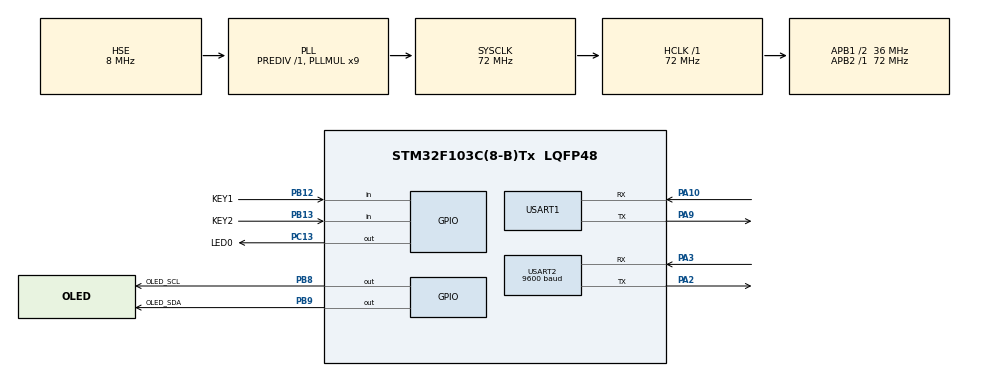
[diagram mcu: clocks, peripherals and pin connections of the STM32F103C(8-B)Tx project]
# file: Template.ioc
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Dma.Request0=USART1_RX
Dma.Request1=USART1_TX
Dma.Request2=USART2_RX
Dma.Request3=USART2_TX
Dma.USART1_RX.0.Direction=DMA_PERIPH_TO_MEMORY
Dma.USART1_RX.0.Instance=DMA1_Channel5
Dma.USART1_RX.0.MemDataAlignment=DMA_MDATAALIGN_BYTE
Dma.USART1_RX.0.MemInc=DMA_MINC_ENABLE
Dma.USART1_RX.0.Mode=DMA_NORMAL
Dma.USART1_RX.0.PeriphDataAlignment=DMA_PDATAALIGN_BYTE
Dma.USART1_RX.0.PeriphInc=DMA_PINC_DISABLE
Dma.USART1_RX.0.Priority=DMA_PRIORITY_LOW
Dma.USART1_TX.1.Direction=DMA_MEMORY_TO_PERIPH
Dma.USART1_TX.1.Instance=DMA1_Channel4
Dma.USART1_TX.1.MemDataAlignment=DMA_MDATAALIGN_BYTE
Dma.USART1_TX.1.MemInc=DMA_MINC_ENABLE
Dma.USART1_TX.1.Mode=DMA_NORMAL
Dma.USART1_TX.1.PeriphDataAlignment=DMA_PDATAALIGN_BYTE
Dma.USART1_TX.1.PeriphInc=DMA_PINC_DISABLE
Dma.USART1_TX.1.Priority=DMA_PRIORITY_LOW
Dma.USART2_RX.2.Direction=DMA_PERIPH_TO_MEMORY
Dma.USART2_RX.2.Instance=DMA1_Channel6
Dma.USART2_RX.2.MemDataAlignment=DMA_MDATAALIGN_BYTE
Dma.USART2_RX.2.MemInc=DMA_MINC_ENABLE
Dma.USART2_RX.2.Mode=DMA_NORMAL
Dma.USART2_RX.2.PeriphDataAlignment=DMA_PDATAALIGN_BYTE
Dma.USART2_RX.2.PeriphInc=DMA_PINC_DISABLE
Dma.USART2_RX.2.Priority=DMA_PRIORITY_LOW
Dma.USART2_TX.3.Direction=DMA_MEMORY_TO_PERIPH
Dma.USART2_TX.3.Instance=DMA1_Channel7
Dma.USART2_TX.3.MemDataAlignment=DMA_MDATAALIGN_BYTE
Dma.USART2_TX.3.MemInc=DMA_MINC_ENABLE
Dma.USART2_TX.3.Mode=DMA_NORMAL
Dma.USART2_TX.3.PeriphDataAlignment=DMA_PDATAALIGN_BYTE
Dma.USART2_TX.3.PeriphInc=DMA_PINC_DISABLE
Dma.USART2_TX.3.Priority=DMA_PRIORITY_LOW
Mcu.Family=STM32F1
Mcu.Name=STM32F103C(8-B)Tx
Mcu.Package=LQFP48
NVIC.DMA1_Channel4_IRQn=true\:0\:0\:false\:false\:true\:false\:true\:true
NVIC.DMA1_Channel5_IRQn=true\:0\:0\:false\:false\:true\:false\:true\:true
NVIC.DMA1_Channel6_IRQn=true\:0\:0\:false\:false\:true\:false\:true\:true
NVIC.DMA1_Channel7_IRQn=true\:0\:0\:false\:false\:true\:false\:true\:true
NVIC.PriorityGroup=NVIC_PRIORITYGROUP_2
NVIC.USART1_IRQn=true\:0\:0\:false\:false\:true\:true\:true\:true
NVIC.USART2_IRQn=true\:0\:0\:false\:false\:true\:true\:true\:true
PA10.Mode=Asynchronous
PA10.Signal=USART1_RX
PA13.Mode=Serial_Wire
PA13.Signal=SYS_JTMS-SWDIO
PA14.Mode=Serial_Wire
PA14.Signal=SYS_JTCK-SWCLK
PA2.Mode=Asynchronous
PA2.Signal=USART2_TX
PA3.Mode=Asynchronous
PA3.Signal=USART2_RX
PA9.Mode=Asynchronous
PA9.Signal=USART1_TX
PB12.GPIO_Label=KEY1
PB12.GPIO_PuPd=GPIO_PULLUP
PB12.Signal=GPIO_Input
PB13.GPIO_Label=KEY2
PB13.GPIO_PuPd=GPIO_PULLUP
PB13.Signal=GPIO_Input
PB8.GPIO_Label=OLED_SCL
PB8.GPIO_Speed=GPIO_SPEED_FREQ_HIGH
PB8.Signal=GPIO_Output
PB9.GPIO_Label=OLED_SDA
PB9.GPIO_Speed=GPIO_SPEED_FREQ_HIGH
PB9.PinState=GPIO_PIN_RESET
PB9.Signal=GPIO_Output
PC13-TAMPER-RTC.GPIO_Label=LED0
PC13-TAMPER-RTC.Signal=GPIO_Output
PC14-OSC32_IN.Mode=LSE-External-Oscillator
PC14-OSC32_IN.Signal=RCC_OSC32_IN
PC15-OSC32_OUT.Mode=LSE-External-Oscillator
PC15-OSC32_OUT.Signal=RCC_OSC32_OUT
PD0-OSC_IN.Mode=HSE-External-Oscillator
PD0-OSC_IN.Signal=RCC_OSC_IN
PD1-OSC_OUT.Mode=HSE-External-Oscillator
PD1-OSC_OUT.Signal=RCC_OSC_OUT
ProjectManager.HeapSize=0x200
ProjectManager.StackSize=0x400
ProjectManager.TargetToolchain=MDK-ARM V5.32
RCC.AHBFreq_Value=72000000
RCC.APB1CLKDivider=RCC_HCLK_DIV2
RCC.APB1Freq_Value=36000000
RCC.APB1TimFreq_Value=72000000
RCC.APB2Freq_Value=72000000
RCC.APB2TimFreq_Value=72000000
RCC.HCLKFreq_Value=72000000
RCC.PLLMUL=RCC_PLL_MUL9
RCC.PLLSourceVirtual=RCC_PLLSOURCE_HSE
RCC.SYSCLKFreq_VALUE=72000000
RCC.SYSCLKSource=RCC_SYSCLKSOURCE_PLLCLK
RCC.USBFreq_Value=72000000
USART1.VirtualMode=VM_ASYNC
USART2.BaudRate=9600
USART2.VirtualMode=VM_ASYNC
board=custom

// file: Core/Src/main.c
/* USER CODE BEGIN Header */
/**
  ******************************************************************************
  * @file           : main.c
  * @brief          : Main program body
  ******************************************************************************
  * @attention
  *
  * Copyright (c) 2025 STMicroelectronics.
  * All rights reserved.
  *
  * This software is licensed under terms that can be found in the LICENSE file
  * in the root directory of this software component.
  * If no LICENSE file comes with this software, it is provided AS-IS.
  *
  ******************************************************************************
  */
/* USER CODE END Header */
#include "main.h"
#include "dma.h"
#include "usart.h"
#include "gpio.h"

void SystemClock_Config(void);

/* USER CODE BEGIN 0 */
// *******************库/函数导入*******************
// 系统库
#include <stdlib.h>
#include "string.h"
#include <stdio.h>
// 自设库
#include "OLED.h"
#include "Key.h"
#include "Serial.h"
// *******************全局变量*******************
extern Serial_HEX_Data_Typedef   Serial_Hex_Data ;			// 解析好的HEX数据包
extern Serial_ABC_Data_Typedef   Serial_ABC_Data ;			// 解析好的ABC数据包

// *******************实验区域*******************
int check1 ;
int check2 ;
int check[50] ;
float test1 ;

#ifdef Serial_VOFA
#include "PID.h"

Pid_Typedef PID ;

float kp = 0.7 ;
float ki = 0.1 ;
float kd = 0 ;
float goalPoint = 5 ;
float setPoint = 0 ;
float realPoint = 0 ;
#endif
/* USER CODE END 0 */

int main(void)
{

  /* MCU Configuration--------------------------------------------------------*/

  /* Reset of all peripherals, Initializes the Flash interface and the Systick. */
  HAL_Init();

  /* Configure the system clock */
  SystemClock_Config();

  /* Initialize all configured peripherals */
  MX_GPIO_Init();
  MX_DMA_Init();
  MX_USART1_UART_Init();
  MX_USART2_UART_Init();
  /* USER CODE BEGIN 2 */

	// ******************* setup *******************
	// 启动Systick时钟
	HAL_SYSTICK_Config(SystemCoreClock / 1000);
	// 初始化OLED
	OLED_Init() ;
	OLED_ShowString(0 , 0 , "Hello World" , OLED_8X16 ) ;

	// *串口初始化*
	Serial_Init(&Serial_huart) ;

	// ******************* 实验区域 *******************
	#ifdef Serial_VOFA
	PID_Init(&PID , kp , ki , kd , goalPoint ) ;
	#endif
  /* USER CODE END 2 */

  /* Infinite loop */
  while (1)
  {

    /* USER CODE BEGIN 3 */
		// ******************* while *******************
		// 测试按键功能
		if (Key_Check(KEY_1 , KEY_SINGLE))
		{
			HAL_GPIO_TogglePin(LED0_GPIO_Port , LED0_Pin) ;
			Set_Current_USART(USART1_IDX); /* 想要指定不同串口必须在printf前加上此函数 */
			printf("Serial=1\n");
		}
		else if (Key_Check(KEY_2 , KEY_SINGLE))
		{
			Set_Current_USART(USART2_IDX); /* 想要指定不同串口必须在printf前加上此函数 */
			printf("world\n") ;
		}
		// ******************* 实验区域 *******************
		#ifdef Serial_VOFA

		if (Serial_GetNewPackageFlag_HEX() == 1)
		{
			// OLED展示各个数据
			OLED_ShowNum(0 , 20 , Serial_Hex_Data.Serial_New_Package[0] , 1 , OLED_8X16 ) ;
			for (int i = 1 ; i < Serial_Hex_Data.Serial_New_Package[0] + 1 ; i ++)
			{
				OLED_ShowNum(20 , 10 + 10 * i , Serial_Hex_Data.Serial_New_Package[i] , 5 , OLED_6X8 ) ;
			}
		}
		if (Serial_GetNewPackageFlag_ABC() == 1)
		{
			// 文本包调试程序
			Serial_SetFloatData("Kp" , "Kp=%f" , &kp) ;
			Serial_SetFloatData("Ki" , "Ki=%f" , &ki) ;
			Serial_SetFloatData("Kd" , "Kd=%f" , &kd) ;

			Serial_SetIntData("test" , "test=%d" , &check1) ;
			OLED_ShowFloatNum(20 , 50 , test1 , 1 , 6 , OLED_6X8) ;
			OLED_ShowNum(0 , 20 , check1 , 3 , OLED_8X16 ) ;
		}
		#endif

		// 必须存在:OLED更新
		OLED_Update() ;
  }
  /* USER CODE END 3 */
}

void SystemClock_Config(void)
{
  RCC_OscInitTypeDef RCC_OscInitStruct = {0};
  RCC_ClkInitTypeDef RCC_ClkInitStruct = {0};

  /** Initializes the RCC Oscillators according to the specified parameters
  * in the RCC_OscInitTypeDef structure.
  */
  RCC_OscInitStruct.OscillatorType = RCC_OSCILLATORTYPE_HSE;
  RCC_OscInitStruct.HSEState = RCC_HSE_ON;
  RCC_OscInitStruct.HSEPredivValue = RCC_HSE_PREDIV_DIV1;
  RCC_OscInitStruct.HSIState = RCC_HSI_ON;
  RCC_OscInitStruct.PLL.PLLState = RCC_PLL_ON;
  RCC_OscInitStruct.PLL.PLLSource = RCC_PLLSOURCE_HSE;
  RCC_OscInitStruct.PLL.PLLMUL = RCC_PLL_MUL9;
  if (HAL_RCC_OscConfig(&RCC_OscInitStruct) != HAL_OK)
  {
    Error_Handler();
  }

  /** Initializes the CPU, AHB and APB buses clocks
  */
  RCC_ClkInitStruct.ClockType = RCC_CLOCKTYPE_HCLK|RCC_CLOCKTYPE_SYSCLK
                              |RCC_CLOCKTYPE_PCLK1|RCC_CLOCKTYPE_PCLK2;
  RCC_ClkInitStruct.SYSCLKSource = RCC_SYSCLKSOURCE_PLLCLK;
  RCC_ClkInitStruct.AHBCLKDivider = RCC_SYSCLK_DIV1;
  RCC_ClkInitStruct.APB1CLKDivider = RCC_HCLK_DIV2;
  RCC_ClkInitStruct.APB2CLKDivider = RCC_HCLK_DIV1;

  if (HAL_RCC_ClockConfig(&RCC_ClkInitStruct, FLASH_LATENCY_2) != HAL_OK)
  {
    Error_Handler();
  }
}

/* USER CODE BEGIN 4 */
// Systick定时中断
void HAL_SYSTICK_Callback(void)
{
	// 计时
	static int count_sys = 0 ;
	count_sys ++ ;
	// 功能1:
	if (count_sys % 1000 == 0)
	{
//		HAL_GPIO_TogglePin(LED0_GPIO_Port , LED0_Pin ) ;
	}
	// 功能2: 按键
	Key_Tick() ;
	// PID调试
	#ifdef Serial_VOFA
	if (count_sys % 40 == 0)
	{
		PID_Set(&PID , kp , ki , kd , goalPoint ) ;
		setPoint = PID_Cal(&PID , realPoint , 0 , 10 ) ; // 传入真实值,与目标值比较得到设定值
		realPoint = setPoint * 1.2 ;
		printf("%f,%f,%f\n" , realPoint , goalPoint , setPoint) ;
	}
	#endif
}

/* USER CODE END 4 */

void Error_Handler(void)
{
  __disable_irq();
  while (1)
  {
  }
}
